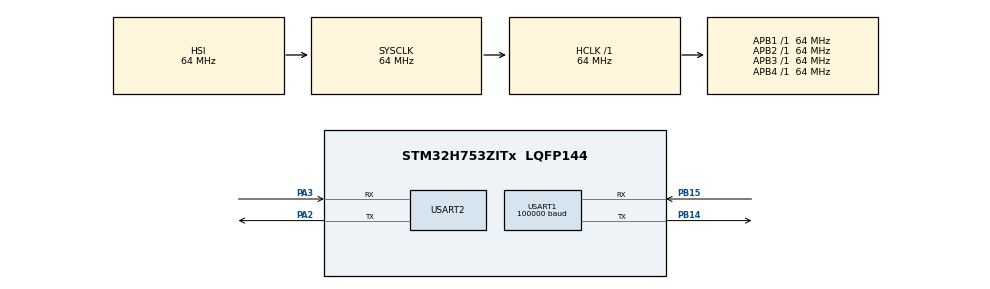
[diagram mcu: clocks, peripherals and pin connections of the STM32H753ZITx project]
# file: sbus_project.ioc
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CORTEX_M7.CPU_DCache=Disabled
CORTEX_M7.CPU_ICache=Disabled
CORTEX_M7.MPU_Control=__NULL
CORTEX_M7.default_mode_Activation=1
Mcu.Family=STM32H7
Mcu.Name=STM32H753ZITx
Mcu.Package=LQFP144
NVIC.PriorityGroup=NVIC_PRIORITYGROUP_4
NVIC.USART1_IRQn=true\:0\:0\:false\:false\:true\:true\:true\:true
PA2.Mode=Asynchronous
PA2.Signal=USART2_TX
PA3.Mode=Asynchronous
PA3.Signal=USART2_RX
PB0.TagName=LD1
PB14.Mode=Asynchronous
PB14.Signal=USART1_TX
PB14.TagName=LD3
PB15.Mode=Asynchronous
PB15.Signal=USART1_RX
PB7.TagName=LD2
PC13.TagName=BUTTON
PD8.TagName=VCP_TX
PD9.TagName=VCP_RX
ProjectManager.HeapSize=0x200
ProjectManager.StackSize=0x400
ProjectManager.TargetToolchain=STM32CubeIDE
RCC.ADCFreq_Value=129000000
RCC.APB1Freq_Value=64000000
RCC.APB2Freq_Value=64000000
RCC.APB3Freq_Value=64000000
RCC.APB4Freq_Value=64000000
RCC.CortexFreq_Value=64000000
RCC.DIVM1=1
RCC.DIVN1=24
RCC.DIVQ1=4
RCC.HCLKFreq_Value=64000000
RCC.HSE_VALUE=8000000
RCC.PLLFRACN=0
RCC.PWR_Regulator_Voltage_Scale=PWR_REGULATOR_VOLTAGE_SCALE2
RCC.SYSCLKFreq_VALUE=64000000
RCC.USBFreq_Value=384000000
USART1.BaudRate=100000
USART1.Parity=PARITY_EVEN
USART1.RxPinLevelInvertParam=ADVFEATURE_RXINV_ENABLE
USART1.StopBits=STOPBITS_2
USART1.VirtualMode-Asynchronous=VM_ASYNC
USART2.VirtualMode-Asynchronous=VM_ASYNC
VP_MEMORYMAP_VS_MEMORYMAP.Mode=CurAppReg
board=NUCLEO-H753ZI

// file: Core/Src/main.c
/* USER CODE BEGIN Header */
/**
  ******************************************************************************
  * @file           : main.c
  * @brief          : Main program body
  ******************************************************************************
  * @attention
  *
  * Copyright (c) 2026 STMicroelectronics.
  * All rights reserved.
  *
  * This software is licensed under terms that can be found in the LICENSE file
  * in the root directory of this software component.
  * If no LICENSE file comes with this software, it is provided AS-IS.
  *
  ******************************************************************************
  */
/* USER CODE END Header */
#include "main.h"

/* USER CODE BEGIN Includes */

#include <string.h>
#include <stdio.h>

/* USER CODE END Includes */

UART_HandleTypeDef huart1;
UART_HandleTypeDef huart2;

/* USER CODE BEGIN PV */

static uint8_t sbus_rx_byte;
static uint8_t sbus_buf[25];
static uint8_t sbus_pos = 0;

static uint16_t sbus_ch[16];
static uint8_t sbus_flags = 0;

/* USER CODE END PV */

void SystemClock_Config(void);
static void MX_GPIO_Init(void);
static void MX_USART1_UART_Init(void);
static void MX_USART2_UART_Init(void);
/* USER CODE BEGIN PFP */

static void sbus_start_rx_it(void);
static void sbus_decode_25bytes(const uint8_t f[25], uint16_t ch[16], uint8_t *flags);
static void dbg_print_channels(const uint16_t ch[16], uint8_t flags);

/* USER CODE END PFP */

int main(void)
{

  /* MCU Configuration--------------------------------------------------------*/

  /* Reset of all peripherals, Initializes the Flash interface and the Systick. */
  HAL_Init();

  /* Configure the system clock */
  SystemClock_Config();

  /* Initialize all configured peripherals */
  MX_GPIO_Init();
  MX_USART1_UART_Init();
  MX_USART2_UART_Init();
  /* USER CODE BEGIN 2 */

  const char *hello = "SBUS start\r\n";
  HAL_UART_Transmit(&huart2, (uint8_t*)hello, strlen(hello), 100);
  sbus_start_rx_it();

  /* USER CODE END 2 */

  /* Infinite loop */
  while (1)
  {

  }
}

void SystemClock_Config(void)
{
  RCC_OscInitTypeDef RCC_OscInitStruct = {0};
  RCC_ClkInitTypeDef RCC_ClkInitStruct = {0};

  /** Supply configuration update enable
  */
  HAL_PWREx_ConfigSupply(PWR_LDO_SUPPLY);

  /** Configure the main internal regulator output voltage
  */
  __HAL_PWR_VOLTAGESCALING_CONFIG(PWR_REGULATOR_VOLTAGE_SCALE2);

  while(!__HAL_PWR_GET_FLAG(PWR_FLAG_VOSRDY)) {}

  /** Initializes the RCC Oscillators according to the specified parameters
  * in the RCC_OscInitTypeDef structure.
  */
  RCC_OscInitStruct.OscillatorType = RCC_OSCILLATORTYPE_HSI;
  RCC_OscInitStruct.HSIState = RCC_HSI_DIV1;
  RCC_OscInitStruct.HSICalibrationValue = RCC_HSICALIBRATION_DEFAULT;
  RCC_OscInitStruct.PLL.PLLState = RCC_PLL_NONE;
  if (HAL_RCC_OscConfig(&RCC_OscInitStruct) != HAL_OK)
  {
    Error_Handler();
  }

  /** Initializes the CPU, AHB and APB buses clocks
  */
  RCC_ClkInitStruct.ClockType = RCC_CLOCKTYPE_HCLK|RCC_CLOCKTYPE_SYSCLK
                              |RCC_CLOCKTYPE_PCLK1|RCC_CLOCKTYPE_PCLK2
                              |RCC_CLOCKTYPE_D3PCLK1|RCC_CLOCKTYPE_D1PCLK1;
  RCC_ClkInitStruct.SYSCLKSource = RCC_SYSCLKSOURCE_HSI;
  RCC_ClkInitStruct.SYSCLKDivider = RCC_SYSCLK_DIV1;
  RCC_ClkInitStruct.AHBCLKDivider = RCC_HCLK_DIV1;
  RCC_ClkInitStruct.APB3CLKDivider = RCC_APB3_DIV1;
  RCC_ClkInitStruct.APB1CLKDivider = RCC_APB1_DIV1;
  RCC_ClkInitStruct.APB2CLKDivider = RCC_APB2_DIV1;
  RCC_ClkInitStruct.APB4CLKDivider = RCC_APB4_DIV1;

  if (HAL_RCC_ClockConfig(&RCC_ClkInitStruct, FLASH_LATENCY_1) != HAL_OK)
  {
    Error_Handler();
  }
}

static void MX_USART1_UART_Init(void)
{

  huart1.Instance = USART1;
  huart1.Init.BaudRate = 100000;
  huart1.Init.WordLength = UART_WORDLENGTH_8B;
  huart1.Init.StopBits = UART_STOPBITS_2;
  huart1.Init.Parity = UART_PARITY_EVEN;
  huart1.Init.Mode = UART_MODE_TX_RX;
  huart1.Init.HwFlowCtl = UART_HWCONTROL_NONE;
  huart1.Init.OverSampling = UART_OVERSAMPLING_16;
  huart1.Init.OneBitSampling = UART_ONE_BIT_SAMPLE_DISABLE;
  huart1.Init.ClockPrescaler = UART_PRESCALER_DIV1;
  huart1.AdvancedInit.AdvFeatureInit = UART_ADVFEATURE_RXINVERT_INIT;
  huart1.AdvancedInit.RxPinLevelInvert = UART_ADVFEATURE_RXINV_ENABLE;
  if (HAL_UART_Init(&huart1) != HAL_OK)
  {
    Error_Handler();
  }
  if (HAL_UARTEx_SetTxFifoThreshold(&huart1, UART_TXFIFO_THRESHOLD_1_8) != HAL_OK)
  {
    Error_Handler();
  }
  if (HAL_UARTEx_SetRxFifoThreshold(&huart1, UART_RXFIFO_THRESHOLD_1_8) != HAL_OK)
  {
    Error_Handler();
  }
  if (HAL_UARTEx_DisableFifoMode(&huart1) != HAL_OK)
  {
    Error_Handler();
  }

}

static void MX_USART2_UART_Init(void)
{

  huart2.Instance = USART2;
  huart2.Init.BaudRate = 115200;
  huart2.Init.WordLength = UART_WORDLENGTH_8B;
  huart2.Init.StopBits = UART_STOPBITS_1;
  huart2.Init.Parity = UART_PARITY_NONE;
  huart2.Init.Mode = UART_MODE_TX_RX;
  huart2.Init.HwFlowCtl = UART_HWCONTROL_NONE;
  huart2.Init.OverSampling = UART_OVERSAMPLING_16;
  huart2.Init.OneBitSampling = UART_ONE_BIT_SAMPLE_DISABLE;
  huart2.Init.ClockPrescaler = UART_PRESCALER_DIV1;
  huart2.AdvancedInit.AdvFeatureInit = UART_ADVFEATURE_NO_INIT;
  if (HAL_UART_Init(&huart2) != HAL_OK)
  {
    Error_Handler();
  }
  if (HAL_UARTEx_SetTxFifoThreshold(&huart2, UART_TXFIFO_THRESHOLD_1_8) != HAL_OK)
  {
    Error_Handler();
  }
  if (HAL_UARTEx_SetRxFifoThreshold(&huart2, UART_RXFIFO_THRESHOLD_1_8) != HAL_OK)
  {
    Error_Handler();
  }
  if (HAL_UARTEx_DisableFifoMode(&huart2) != HAL_OK)
  {
    Error_Handler();
  }

}

static void MX_GPIO_Init(void)
{

  /* GPIO Ports Clock Enable */
  __HAL_RCC_GPIOA_CLK_ENABLE();
  __HAL_RCC_GPIOB_CLK_ENABLE();

}

/* USER CODE BEGIN 4 */

static void sbus_start_rx_it(void)
{
  HAL_UART_Receive_IT(&huart1, &sbus_rx_byte, 1);
}

void HAL_UART_RxCpltCallback(UART_HandleTypeDef *huart)
{
  if (huart->Instance == USART1)
  {
    uint8_t b = sbus_rx_byte;

    if (sbus_pos == 0)
    {
      if (b == 0x0F)
      {
        sbus_buf[sbus_pos++] = b;
      }
    }
    else
    {
      sbus_buf[sbus_pos++] = b;

      if (sbus_pos >= 25)
      {
        sbus_pos = 0;

        if (sbus_buf[0] == 0x0F)
        {
          sbus_decode_25bytes(sbus_buf, sbus_ch, &sbus_flags);
          dbg_print_channels(sbus_ch, sbus_flags);
        }
      }
    }

    HAL_UART_Receive_IT(&huart1, &sbus_rx_byte, 1);
  }
}

static void sbus_decode_25bytes(const uint8_t f[25], uint16_t ch[16], uint8_t *flags)
{
  ch[0]  = ((f[1]     | f[2]  << 8) & 0x07FF);
  ch[1]  = ((f[2]>>3  | f[3]  << 5) & 0x07FF);
  ch[2]  = ((f[3]>>6  | f[4]  << 2 | f[5] << 10) & 0x07FF);
  ch[3]  = ((f[5]>>1  | f[6]  << 7) & 0x07FF);
  ch[4]  = ((f[6]>>4  | f[7]  << 4) & 0x07FF);
  ch[5]  = ((f[7]>>7  | f[8]  << 1 | f[9] << 9)  & 0x07FF);
  ch[6]  = ((f[9]>>2  | f[10] << 6) & 0x07FF);
  ch[7]  = ((f[10]>>5 | f[11] << 3) & 0x07FF);
  ch[8]  = ((f[12]    | f[13] << 8) & 0x07FF);
  ch[9]  = ((f[13]>>3 | f[14] << 5) & 0x07FF);
  ch[10] = ((f[14]>>6 | f[15] << 2 | f[16] << 10) & 0x07FF);
  ch[11] = ((f[16]>>1 | f[17] << 7) & 0x07FF);
  ch[12] = ((f[17]>>4 | f[18] << 4) & 0x07FF);
  ch[13] = ((f[18]>>7 | f[19] << 1 | f[20] << 9) & 0x07FF);
  ch[14] = ((f[20]>>2 | f[21] << 6) & 0x07FF);
  ch[15] = ((f[21]>>5 | f[22] << 3) & 0x07FF);

  *flags = f[23];
}

static void dbg_print_channels(const uint16_t ch[16], uint8_t flags)
{
  char out[220];
  int n = snprintf(out, sizeof(out),
    "CH1=%4u CH2=%4u CH3=%4u CH4=%4u | FL=0x%02X\r\n",
    ch[0], ch[1], ch[2], ch[3], flags);

  HAL_UART_Transmit(&huart2, (uint8_t*)out, (uint16_t)n, 50);
}

/* USER CODE END 4 */

void Error_Handler(void)
{
  __disable_irq();
  while (1)
  {
  }
}
